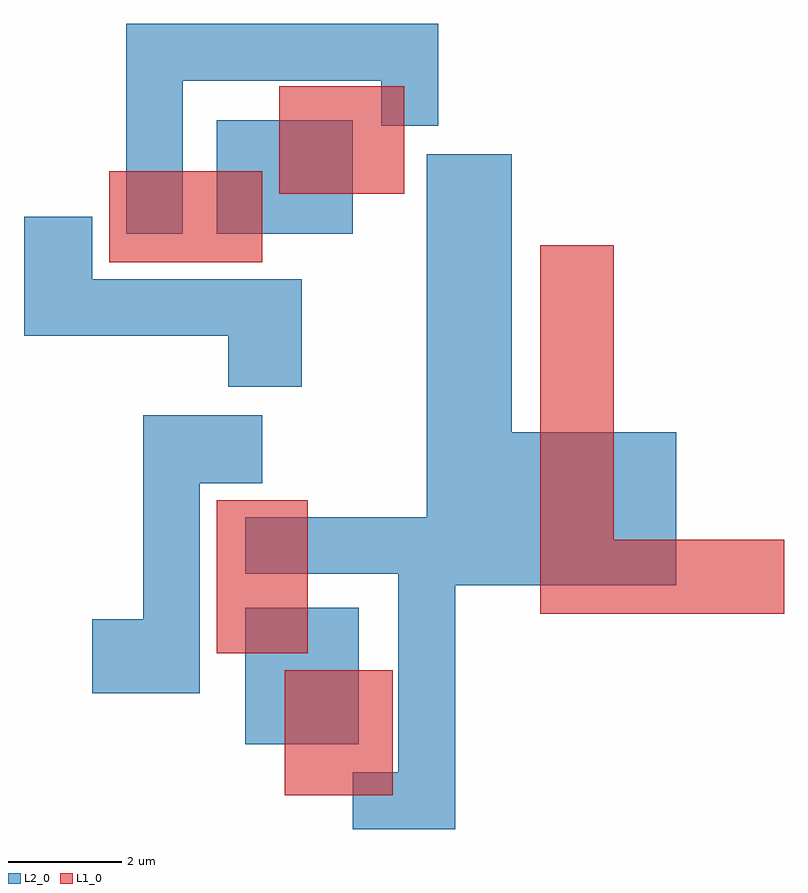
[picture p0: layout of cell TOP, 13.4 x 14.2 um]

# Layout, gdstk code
from math import pi, radians
import gdstk
lib = gdstk.Library(unit=1e-6, precision=1e-09)
def R(c, l, rs):  # rectangles x0, y0, x1, y1
    for r in rs: c.add(gdstk.rectangle(r[:2], r[2:], *l))
def P(c, l, *ps):  # polygons
    for p in ps: c.add(gdstk.Polygon(p, *l))
L1_0 = (1, 0)
L2_0 = (2, 0)
L10_0 = (10, 0)
L11_0 = (11, 0)
L12_0 = (12, 0)
L13_0 = (13, 0)
L14_0 = (14, 0)
L15_0 = (15, 0)
L16_0 = (16, 0)
L17_0 = (17, 0)
L20_0 = (20, 0)
L21_0 = (21, 0)
L22_0 = (22, 0)
L31_0 = (31, 0)
L31_1 = (31, 1)
L32_0 = (32, 0)
L32_1 = (32, 1)
L40_0 = (40, 0)
L40_1 = (40, 1)
L41_0 = (41, 0)
L41_1 = (41, 1)
L42_0 = (42, 0)
L42_1 = (42, 1)

c_a = lib.new_cell('A')
R(c_a, L1_0, [(0.4,0.8,2.6,2.7), (2.9,2.3,5.6,3.9)])
R(c_a, L2_0, [(1.3,1.4,3.7,3.4), (5.9,3.1,7.1,5.2)])
P(c_a, L2_0, [(2.2,4.2),(2.2,6.1),(3.5,6.1),(3.5,5.2),(5.9,5.2),(5.9,4.2)],
  [(-0.2,-0.3),(-0.2,1.5),(0.8,1.5),(0.8,0.7),(4.3,0.7),(4.3,3.4),(5.3,3.4),(5.3,-0.3)])
c_a.add(gdstk.FlexPath([(2.6,2.7),(2.6,2.3)], 0, ends="flush", simple_path=True, layer=10, datatype=0))  # L10_0
c_a.add(gdstk.FlexPath([(2.9,2.3),(2.9,2.7)], 0, ends="flush", simple_path=True, layer=10, datatype=0))  # L10_0
c_a.add(gdstk.FlexPath([(2.9,3.9),(5.6,3.9)], 0, ends="flush", simple_path=True, layer=11, datatype=0))  # L11_0
c_a.add(gdstk.FlexPath([(5.6,4.2),(2.9,4.2)], 0, ends="flush", simple_path=True, layer=11, datatype=0))  # L11_0
c_a.add(gdstk.FlexPath([(5.6,3.9),(5.6,3.1)], 0, ends="flush", simple_path=True, layer=11, datatype=0))  # L11_0
c_a.add(gdstk.FlexPath([(5.9,3.1),(5.9,3.9)], 0, ends="flush", simple_path=True, layer=11, datatype=0))  # L11_0
c_a.add(gdstk.FlexPath([(2.6,0.8),(0.8,0.8)], 0, ends="flush", simple_path=True, layer=11, datatype=0))  # L11_0
c_a.add(gdstk.FlexPath([(0.8,0.7),(2.6,0.7)], 0, ends="flush", simple_path=True, layer=11, datatype=0))  # L11_0
c_a.add(gdstk.FlexPath([(4.3,3.4),(5.3,3.4)], 0, ends="flush", simple_path=True, layer=12, datatype=0))  # L12_0
c_a.add(gdstk.FlexPath([(5.3,4.2),(4.3,4.2)], 0, ends="flush", simple_path=True, layer=12, datatype=0))  # L12_0
c_a.add(gdstk.FlexPath([(1.3,1.4),(1.3,1.5)], 0, ends="flush", simple_path=True, layer=12, datatype=0))  # L12_0
c_a.add(gdstk.FlexPath([(0.8,1.5),(0.8,1.4)], 0, ends="flush", simple_path=True, layer=12, datatype=0))  # L12_0
c_a.add(gdstk.FlexPath([(3.7,1.4),(1.3,1.4)], 0, ends="flush", simple_path=True, layer=12, datatype=0))  # L12_0
c_a.add(gdstk.FlexPath([(1.3,0.7),(3.7,0.7)], 0, ends="flush", simple_path=True, layer=12, datatype=0))  # L12_0
c_a.add(gdstk.FlexPath([(5.3,3.4),(5.3,3.1)], 0, ends="flush", simple_path=True, layer=12, datatype=0))  # L12_0
c_a.add(gdstk.FlexPath([(5.9,3.1),(5.9,3.4)], 0, ends="flush", simple_path=True, layer=12, datatype=0))  # L12_0
c_a.add(gdstk.FlexPath([(2.2,3.4),(3.7,3.4)], 0, ends="flush", simple_path=True, layer=12, datatype=0))  # L12_0
c_a.add(gdstk.FlexPath([(3.7,4.2),(2.2,4.2)], 0, ends="flush", simple_path=True, layer=12, datatype=0))  # L12_0
c_a.add(gdstk.FlexPath([(3.7,3.4),(3.7,1.4)], 0, ends="flush", simple_path=True, layer=12, datatype=0))  # L12_0
c_a.add(gdstk.FlexPath([(4.3,1.4),(4.3,3.4)], 0, ends="flush", simple_path=True, layer=12, datatype=0))  # L12_0
c_a.add(gdstk.FlexPath([(2.6,2.7),(2.6,2.3)], 0, ends="flush", simple_path=True, layer=13, datatype=0))  # L13_0
c_a.add(gdstk.FlexPath([(2.9,2.3),(2.9,2.7)], 0, ends="flush", simple_path=True, layer=13, datatype=0))  # L13_0
c_a.add(gdstk.FlexPath([(2.9,3.9),(5.6,3.9)], 0, ends="flush", simple_path=True, layer=14, datatype=0))  # L14_0
c_a.add(gdstk.FlexPath([(5.6,4.2),(2.9,4.2)], 0, ends="flush", simple_path=True, layer=14, datatype=0))  # L14_0
c_a.add(gdstk.FlexPath([(5.6,3.9),(5.6,3.1)], 0, ends="flush", simple_path=True, layer=14, datatype=0))  # L14_0
c_a.add(gdstk.FlexPath([(5.9,3.1),(5.9,3.9)], 0, ends="flush", simple_path=True, layer=14, datatype=0))  # L14_0
c_a.add(gdstk.FlexPath([(2.6,0.8),(0.8,0.8)], 0, ends="flush", simple_path=True, layer=14, datatype=0))  # L14_0
c_a.add(gdstk.FlexPath([(0.8,0.7),(2.6,0.7)], 0, ends="flush", simple_path=True, layer=14, datatype=0))  # L14_0
c_a.add(gdstk.FlexPath([(2.9,3.9),(5.6,3.9)], 0, ends="flush", simple_path=True, layer=15, datatype=0))  # L15_0
c_a.add(gdstk.FlexPath([(5.6,4.2),(2.9,4.2)], 0, ends="flush", simple_path=True, layer=15, datatype=0))  # L15_0
c_a.add(gdstk.FlexPath([(5.6,3.9),(5.6,3.1)], 0, ends="flush", simple_path=True, layer=15, datatype=0))  # L15_0
c_a.add(gdstk.FlexPath([(5.9,3.1),(5.9,3.9)], 0, ends="flush", simple_path=True, layer=15, datatype=0))  # L15_0
c_a.add(gdstk.FlexPath([(2.6,0.8),(0.8,0.8)], 0, ends="flush", simple_path=True, layer=15, datatype=0))  # L15_0
c_a.add(gdstk.FlexPath([(0.8,0.7),(2.6,0.7)], 0, ends="flush", simple_path=True, layer=15, datatype=0))  # L15_0
c_a.add(gdstk.FlexPath([(2.9,3.9),(5.6,3.9)], 0, ends="flush", simple_path=True, layer=16, datatype=0))  # L16_0
c_a.add(gdstk.FlexPath([(5.6,4.2),(2.9,4.2)], 0, ends="flush", simple_path=True, layer=16, datatype=0))  # L16_0
c_a.add(gdstk.FlexPath([(5.6,3.9),(5.6,3.1)], 0, ends="flush", simple_path=True, layer=16, datatype=0))  # L16_0
c_a.add(gdstk.FlexPath([(5.9,3.1),(5.9,3.9)], 0, ends="flush", simple_path=True, layer=16, datatype=0))  # L16_0
c_a.add(gdstk.FlexPath([(2.6,0.8),(0.8,0.8)], 0, ends="flush", simple_path=True, layer=16, datatype=0))  # L16_0
c_a.add(gdstk.FlexPath([(0.8,0.7),(2.6,0.7)], 0, ends="flush", simple_path=True, layer=16, datatype=0))  # L16_0
c_a.add(gdstk.FlexPath([(5.9,5.2),(5.9,4.2)], 0, ends="flush", simple_path=True, layer=17, datatype=0))  # L17_0
c_a.add(gdstk.FlexPath([(5.9,4.2),(5.9,5.2)], 0, ends="flush", simple_path=True, layer=17, datatype=0))  # L17_0
c_a.add(gdstk.FlexPath([(4.3,3.4),(5.3,3.4)], 0, ends="flush", simple_path=True, layer=17, datatype=0))  # L17_0
c_a.add(gdstk.FlexPath([(5.3,4.2),(4.3,4.2)], 0, ends="flush", simple_path=True, layer=17, datatype=0))  # L17_0
c_a.add(gdstk.FlexPath([(1.3,1.4),(1.3,1.5)], 0, ends="flush", simple_path=True, layer=17, datatype=0))  # L17_0
c_a.add(gdstk.FlexPath([(0.8,1.5),(0.8,1.4)], 0, ends="flush", simple_path=True, layer=17, datatype=0))  # L17_0
c_a.add(gdstk.FlexPath([(5.3,3.4),(5.3,3.1)], 0, ends="flush", simple_path=True, layer=17, datatype=0))  # L17_0
c_a.add(gdstk.FlexPath([(5.9,3.1),(5.9,3.4)], 0, ends="flush", simple_path=True, layer=17, datatype=0))  # L17_0
c_a.add(gdstk.FlexPath([(2.2,3.4),(3.7,3.4)], 0, ends="flush", simple_path=True, layer=17, datatype=0))  # L17_0
c_a.add(gdstk.FlexPath([(3.7,4.2),(2.2,4.2)], 0, ends="flush", simple_path=True, layer=17, datatype=0))  # L17_0
c_a.add(gdstk.FlexPath([(3.7,3.4),(3.7,1.4)], 0, ends="flush", simple_path=True, layer=17, datatype=0))  # L17_0
c_a.add(gdstk.FlexPath([(4.3,1.4),(4.3,3.4)], 0, ends="flush", simple_path=True, layer=17, datatype=0))  # L17_0
c_a.add(gdstk.FlexPath([(3.7,1.4),(1.3,1.4)], 0, ends="flush", simple_path=True, layer=17, datatype=0))  # L17_0
c_a.add(gdstk.FlexPath([(1.3,0.7),(3.7,0.7)], 0, ends="flush", simple_path=True, layer=17, datatype=0))  # L17_0
c_a.add(gdstk.FlexPath([(2.9,2.3),(2.9,2.7)], 0, ends="flush", simple_path=True, layer=20, datatype=0))  # L20_0
c_a.add(gdstk.FlexPath([(2.6,2.7),(2.6,2.3)], 0, ends="flush", simple_path=True, layer=20, datatype=0))  # L20_0
c_a.add(gdstk.FlexPath([(2.6,2.7),(2.6,2.3)], 0, ends="flush", simple_path=True, layer=20, datatype=0))  # L20_0
c_a.add(gdstk.FlexPath([(2.9,2.3),(2.9,2.7)], 0, ends="flush", simple_path=True, layer=20, datatype=0))  # L20_0
c_a.add(gdstk.FlexPath([(5.6,3.9),(5.6,3.1)], 0, ends="flush", simple_path=True, layer=21, datatype=0))  # L21_0
c_a.add(gdstk.FlexPath([(5.9,3.1),(5.9,3.9)], 0, ends="flush", simple_path=True, layer=21, datatype=0))  # L21_0
c_a.add(gdstk.FlexPath([(2.9,3.9),(5.6,3.9)], 0, ends="flush", simple_path=True, layer=21, datatype=0))  # L21_0
c_a.add(gdstk.FlexPath([(5.6,4.2),(2.9,4.2)], 0, ends="flush", simple_path=True, layer=21, datatype=0))  # L21_0
c_a.add(gdstk.FlexPath([(2.6,0.8),(0.8,0.8)], 0, ends="flush", simple_path=True, layer=21, datatype=0))  # L21_0
c_a.add(gdstk.FlexPath([(0.8,0.7),(2.6,0.7)], 0, ends="flush", simple_path=True, layer=21, datatype=0))  # L21_0
c_a.add(gdstk.FlexPath([(5.9,3.1),(5.9,3.4)], 0, ends="flush", simple_path=True, layer=22, datatype=0))  # L22_0
c_a.add(gdstk.FlexPath([(5.3,3.4),(5.3,3.1)], 0, ends="flush", simple_path=True, layer=22, datatype=0))  # L22_0
c_a.add(gdstk.FlexPath([(4.3,1.4),(4.3,3.4)], 0, ends="flush", simple_path=True, layer=22, datatype=0))  # L22_0
c_a.add(gdstk.FlexPath([(3.7,3.4),(3.7,1.4)], 0, ends="flush", simple_path=True, layer=22, datatype=0))  # L22_0
c_a.add(gdstk.FlexPath([(0.8,1.5),(0.8,1.4)], 0, ends="flush", simple_path=True, layer=22, datatype=0))  # L22_0
c_a.add(gdstk.FlexPath([(1.3,1.4),(1.3,1.5)], 0, ends="flush", simple_path=True, layer=22, datatype=0))  # L22_0
c_a.add(gdstk.FlexPath([(4.3,3.4),(5.3,3.4)], 0, ends="flush", simple_path=True, layer=22, datatype=0))  # L22_0
c_a.add(gdstk.FlexPath([(5.3,4.2),(4.3,4.2)], 0, ends="flush", simple_path=True, layer=22, datatype=0))  # L22_0
c_a.add(gdstk.FlexPath([(1.3,0.7),(3.7,0.7)], 0, ends="flush", simple_path=True, layer=22, datatype=0))  # L22_0
c_a.add(gdstk.FlexPath([(3.7,1.4),(1.3,1.4)], 0, ends="flush", simple_path=True, layer=22, datatype=0))  # L22_0
c_a.add(gdstk.FlexPath([(1.3,1.4),(1.3,1.5)], 0, ends="flush", simple_path=True, layer=22, datatype=0))  # L22_0
c_a.add(gdstk.FlexPath([(0.8,1.5),(0.8,1.4)], 0, ends="flush", simple_path=True, layer=22, datatype=0))  # L22_0
c_a.add(gdstk.FlexPath([(3.7,4.2),(2.2,4.2)], 0, ends="flush", simple_path=True, layer=22, datatype=0))  # L22_0
c_a.add(gdstk.FlexPath([(2.2,3.4),(3.7,3.4)], 0, ends="flush", simple_path=True, layer=22, datatype=0))  # L22_0
c_a.add(gdstk.FlexPath([(5.3,3.4),(5.3,3.1)], 0, ends="flush", simple_path=True, layer=22, datatype=0))  # L22_0
c_a.add(gdstk.FlexPath([(5.9,3.1),(5.9,3.4)], 0, ends="flush", simple_path=True, layer=22, datatype=0))  # L22_0
c_a.add(gdstk.FlexPath([(3.7,1.4),(1.3,1.4)], 0, ends="flush", simple_path=True, layer=22, datatype=0))  # L22_0
c_a.add(gdstk.FlexPath([(1.3,0.7),(3.7,0.7)], 0, ends="flush", simple_path=True, layer=22, datatype=0))  # L22_0
c_a.add(gdstk.FlexPath([(2.2,3.4),(3.7,3.4)], 0, ends="flush", simple_path=True, layer=22, datatype=0))  # L22_0
c_a.add(gdstk.FlexPath([(3.7,4.2),(2.2,4.2)], 0, ends="flush", simple_path=True, layer=22, datatype=0))  # L22_0
c_a.add(gdstk.FlexPath([(3.7,3.4),(3.7,1.4)], 0, ends="flush", simple_path=True, layer=22, datatype=0))  # L22_0
c_a.add(gdstk.FlexPath([(4.3,1.4),(4.3,3.4)], 0, ends="flush", simple_path=True, layer=22, datatype=0))  # L22_0
c_a.add(gdstk.FlexPath([(5.6,3.9),(5.6,3.1)], 0, ends="flush", simple_path=True, layer=31, datatype=0))  # L31_0
c_a.add(gdstk.FlexPath([(5.9,3.1),(5.9,3.9)], 0, ends="flush", simple_path=True, layer=31, datatype=0))  # L31_0
c_a.add(gdstk.FlexPath([(2.6,0.8),(0.8,0.8)], 0, ends="flush", simple_path=True, layer=31, datatype=0))  # L31_0
c_a.add(gdstk.FlexPath([(0.8,0.7),(2.6,0.7)], 0, ends="flush", simple_path=True, layer=31, datatype=0))  # L31_0
c_a.add(gdstk.FlexPath([(4.3,3.4),(5.3,3.4)], 0, ends="flush", simple_path=True, layer=32, datatype=0))  # L32_0
c_a.add(gdstk.FlexPath([(5.3,4.2),(4.3,4.2)], 0, ends="flush", simple_path=True, layer=32, datatype=0))  # L32_0
c_a.add(gdstk.FlexPath([(5.6,3.9),(5.6,3.1)], 0, ends="flush", simple_path=True, layer=31, datatype=1))  # L31_1
c_a.add(gdstk.FlexPath([(5.9,3.1),(5.9,3.9)], 0, ends="flush", simple_path=True, layer=31, datatype=1))  # L31_1
c_a.add(gdstk.FlexPath([(2.6,0.8),(0.8,0.8)], 0, ends="flush", simple_path=True, layer=31, datatype=1))  # L31_1
c_a.add(gdstk.FlexPath([(0.8,0.7),(2.6,0.7)], 0, ends="flush", simple_path=True, layer=31, datatype=1))  # L31_1
c_a.add(gdstk.FlexPath([(4.3,3.4),(5.3,3.4)], 0, ends="flush", simple_path=True, layer=32, datatype=1))  # L32_1
c_a.add(gdstk.FlexPath([(5.3,4.2),(4.3,4.2)], 0, ends="flush", simple_path=True, layer=32, datatype=1))  # L32_1
c_a.add(gdstk.FlexPath([(2.9,2.3),(2.9,2.7)], 0, ends="flush", simple_path=True, layer=40, datatype=0))  # L40_0
c_a.add(gdstk.FlexPath([(2.6,2.7),(2.6,2.3)], 0, ends="flush", simple_path=True, layer=40, datatype=0))  # L40_0
c_a.add(gdstk.FlexPath([(2.6,2.7),(2.6,2.3)], 0, ends="flush", simple_path=True, layer=40, datatype=0))  # L40_0
c_a.add(gdstk.FlexPath([(2.9,2.3),(2.9,2.7)], 0, ends="flush", simple_path=True, layer=40, datatype=0))  # L40_0
c_a.add(gdstk.FlexPath([(2.9,3.9),(5.6,3.9)], 0, ends="flush", simple_path=True, layer=41, datatype=0))  # L41_0
c_a.add(gdstk.FlexPath([(5.6,4.2),(2.9,4.2)], 0, ends="flush", simple_path=True, layer=41, datatype=0))  # L41_0
c_a.add(gdstk.FlexPath([(5.9,4.2),(5.9,5.2)], 0, ends="flush", simple_path=True, layer=42, datatype=0))  # L42_0
c_a.add(gdstk.FlexPath([(5.9,5.2),(5.9,4.2)], 0, ends="flush", simple_path=True, layer=42, datatype=0))  # L42_0
c_a.add(gdstk.FlexPath([(5.9,3.1),(5.9,3.4)], 0, ends="flush", simple_path=True, layer=42, datatype=0))  # L42_0
c_a.add(gdstk.FlexPath([(5.3,3.4),(5.3,3.1)], 0, ends="flush", simple_path=True, layer=42, datatype=0))  # L42_0
c_a.add(gdstk.FlexPath([(1.3,1.4),(1.3,1.5)], 0, ends="flush", simple_path=True, layer=42, datatype=0))  # L42_0
c_a.add(gdstk.FlexPath([(0.8,1.5),(0.8,1.4)], 0, ends="flush", simple_path=True, layer=42, datatype=0))  # L42_0
c_a.add(gdstk.FlexPath([(3.7,3.4),(3.7,1.4)], 0, ends="flush", simple_path=True, layer=42, datatype=0))  # L42_0
c_a.add(gdstk.FlexPath([(4.3,1.4),(4.3,3.4)], 0, ends="flush", simple_path=True, layer=42, datatype=0))  # L42_0
c_a.add(gdstk.FlexPath([(5.9,5.2),(5.9,4.2)], 0, ends="flush", simple_path=True, layer=42, datatype=0))  # L42_0
c_a.add(gdstk.FlexPath([(5.9,4.2),(5.9,5.2)], 0, ends="flush", simple_path=True, layer=42, datatype=0))  # L42_0
c_a.add(gdstk.FlexPath([(3.7,4.2),(2.2,4.2)], 0, ends="flush", simple_path=True, layer=42, datatype=0))  # L42_0
c_a.add(gdstk.FlexPath([(2.2,3.4),(3.7,3.4)], 0, ends="flush", simple_path=True, layer=42, datatype=0))  # L42_0
c_a.add(gdstk.FlexPath([(2.2,3.4),(3.7,3.4)], 0, ends="flush", simple_path=True, layer=42, datatype=0))  # L42_0
c_a.add(gdstk.FlexPath([(3.7,4.2),(2.2,4.2)], 0, ends="flush", simple_path=True, layer=42, datatype=0))  # L42_0
c_a.add(gdstk.FlexPath([(3.7,1.4),(1.3,1.4)], 0, ends="flush", simple_path=True, layer=42, datatype=0))  # L42_0
c_a.add(gdstk.FlexPath([(1.3,0.7),(3.7,0.7)], 0, ends="flush", simple_path=True, layer=42, datatype=0))  # L42_0
c_a.add(gdstk.FlexPath([(2.6,2.7),(2.6,2.3)], 0, ends="flush", simple_path=True, layer=40, datatype=1))  # L40_1
c_a.add(gdstk.FlexPath([(2.9,2.3),(2.9,2.7)], 0, ends="flush", simple_path=True, layer=40, datatype=1))  # L40_1
c_a.add(gdstk.FlexPath([(2.9,3.9),(5.6,3.9)], 0, ends="flush", simple_path=True, layer=41, datatype=1))  # L41_1
c_a.add(gdstk.FlexPath([(5.6,4.2),(2.9,4.2)], 0, ends="flush", simple_path=True, layer=41, datatype=1))  # L41_1
c_a.add(gdstk.FlexPath([(5.9,5.2),(5.9,4.2)], 0, ends="flush", simple_path=True, layer=42, datatype=1))  # L42_1
c_a.add(gdstk.FlexPath([(5.9,4.2),(5.9,5.2)], 0, ends="flush", simple_path=True, layer=42, datatype=1))  # L42_1
c_a.add(gdstk.FlexPath([(1.3,1.4),(1.3,1.5)], 0, ends="flush", simple_path=True, layer=42, datatype=1))  # L42_1
c_a.add(gdstk.FlexPath([(0.8,1.5),(0.8,1.4)], 0, ends="flush", simple_path=True, layer=42, datatype=1))  # L42_1
c_a.add(gdstk.FlexPath([(5.9,3.1),(5.9,3.4)], 0, ends="flush", simple_path=True, layer=42, datatype=1))  # L42_1
c_a.add(gdstk.FlexPath([(5.3,3.4),(5.3,3.1)], 0, ends="flush", simple_path=True, layer=42, datatype=1))  # L42_1
c_a.add(gdstk.FlexPath([(2.2,3.4),(3.7,3.4)], 0, ends="flush", simple_path=True, layer=42, datatype=1))  # L42_1
c_a.add(gdstk.FlexPath([(3.7,4.2),(2.2,4.2)], 0, ends="flush", simple_path=True, layer=42, datatype=1))  # L42_1
c_a.add(gdstk.FlexPath([(3.7,3.4),(3.7,1.4)], 0, ends="flush", simple_path=True, layer=42, datatype=1))  # L42_1
c_a.add(gdstk.FlexPath([(4.3,1.4),(4.3,3.4)], 0, ends="flush", simple_path=True, layer=42, datatype=1))  # L42_1
c_a.add(gdstk.FlexPath([(3.7,1.4),(1.3,1.4)], 0, ends="flush", simple_path=True, layer=42, datatype=1))  # L42_1
c_a.add(gdstk.FlexPath([(1.3,0.7),(3.7,0.7)], 0, ends="flush", simple_path=True, layer=42, datatype=1))  # L42_1

top = lib.new_cell('TOP')
P(top, L1_0, [(8.4,4.1),(8.4,10.6),(9.7,10.6),(9.7,5.4),(12.7,5.4),(12.7,4.1)])
R(top, L2_0, [(6.6,4.6,10.8,5.8)])
P(top, L2_0, [(6.4,5.8),(6.4,12.2),(7.9,12.2),(7.9,7.3),(10.8,7.3),(10.8,5.8)])
top.add(gdstk.FlexPath([(8.4,7.3),(8.4,10.6)], 0, ends="flush", simple_path=True, layer=11, datatype=0))  # L11_0
top.add(gdstk.FlexPath([(7.9,10.6),(7.9,7.3)], 0, ends="flush", simple_path=True, layer=11, datatype=0))  # L11_0
top.add(gdstk.FlexPath([(6,12.2),(6,11.5)], 0, ends="flush", simple_path=True, layer=11, datatype=0))  # L11_0
top.add(gdstk.FlexPath([(6.4,11.5),(6.4,12.2)], 0, ends="flush", simple_path=True, layer=11, datatype=0))  # L11_0
top.add(gdstk.FlexPath([(6.6,12.7),(6.4,12.7)], 0, ends="flush", simple_path=True, layer=12, datatype=0))  # L12_0
top.add(gdstk.FlexPath([(6.4,12.2),(6.6,12.2)], 0, ends="flush", simple_path=True, layer=12, datatype=0))  # L12_0
top.add(gdstk.FlexPath([(2.9,7.6),(3.5,7.6)], 0, ends="flush", simple_path=True, layer=12, datatype=0))  # L12_0
top.add(gdstk.FlexPath([(3.5,8.1),(2.9,8.1)], 0, ends="flush", simple_path=True, layer=12, datatype=0))  # L12_0
top.add(gdstk.FlexPath([(8.4,7.3),(8.4,10.6)], 0, ends="flush", simple_path=True, layer=14, datatype=0))  # L14_0
top.add(gdstk.FlexPath([(7.9,10.6),(7.9,7.3)], 0, ends="flush", simple_path=True, layer=14, datatype=0))  # L14_0
top.add(gdstk.FlexPath([(6,12.2),(6,11.5)], 0, ends="flush", simple_path=True, layer=14, datatype=0))  # L14_0
top.add(gdstk.FlexPath([(6.4,11.5),(6.4,12.2)], 0, ends="flush", simple_path=True, layer=14, datatype=0))  # L14_0
top.add(gdstk.FlexPath([(8.4,7.3),(8.4,10.6)], 0, ends="flush", simple_path=True, layer=15, datatype=0))  # L15_0
top.add(gdstk.FlexPath([(7.9,10.6),(7.9,7.3)], 0, ends="flush", simple_path=True, layer=15, datatype=0))  # L15_0
top.add(gdstk.FlexPath([(6,12.2),(6,11.5)], 0, ends="flush", simple_path=True, layer=15, datatype=0))  # L15_0
top.add(gdstk.FlexPath([(6.4,11.5),(6.4,12.2)], 0, ends="flush", simple_path=True, layer=15, datatype=0))  # L15_0
top.add(gdstk.FlexPath([(8.4,7.3),(8.4,10.6)], 0, ends="flush", simple_path=True, layer=16, datatype=0))  # L16_0
top.add(gdstk.FlexPath([(7.9,10.6),(7.9,7.3)], 0, ends="flush", simple_path=True, layer=16, datatype=0))  # L16_0
top.add(gdstk.FlexPath([(6,12.2),(6,11.5)], 0, ends="flush", simple_path=True, layer=16, datatype=0))  # L16_0
top.add(gdstk.FlexPath([(6.4,11.5),(6.4,12.2)], 0, ends="flush", simple_path=True, layer=16, datatype=0))  # L16_0
top.add(gdstk.FlexPath([(6.6,5.8),(10.8,5.8)], 0, ends="flush", simple_path=True, layer=17, datatype=0))  # L17_0
top.add(gdstk.FlexPath([(10.8,5.8),(6.6,5.8)], 0, ends="flush", simple_path=True, layer=17, datatype=0))  # L17_0
top.add(gdstk.FlexPath([(6.6,12.7),(6.4,12.7)], 0, ends="flush", simple_path=True, layer=17, datatype=0))  # L17_0
top.add(gdstk.FlexPath([(6.4,12.2),(6.6,12.2)], 0, ends="flush", simple_path=True, layer=17, datatype=0))  # L17_0
top.add(gdstk.FlexPath([(6.4,5.8),(6.9,5.8)], 0, ends="flush", simple_path=True, layer=17, datatype=0))  # L17_0
top.add(gdstk.FlexPath([(6.9,5.8),(6.4,5.8)], 0, ends="flush", simple_path=True, layer=17, datatype=0))  # L17_0
top.add(gdstk.FlexPath([(2.9,7.6),(3.5,7.6)], 0, ends="flush", simple_path=True, layer=17, datatype=0))  # L17_0
top.add(gdstk.FlexPath([(3.5,8.1),(2.9,8.1)], 0, ends="flush", simple_path=True, layer=17, datatype=0))  # L17_0
top.add(gdstk.FlexPath([(8.4,7.3),(8.4,10.6)], 0, ends="flush", simple_path=True, layer=21, datatype=0))  # L21_0
top.add(gdstk.FlexPath([(7.9,10.6),(7.9,7.3)], 0, ends="flush", simple_path=True, layer=21, datatype=0))  # L21_0
top.add(gdstk.FlexPath([(6,12.2),(6,11.5)], 0, ends="flush", simple_path=True, layer=21, datatype=0))  # L21_0
top.add(gdstk.FlexPath([(6.4,11.5),(6.4,12.2)], 0, ends="flush", simple_path=True, layer=21, datatype=0))  # L21_0
top.add(gdstk.FlexPath([(6.4,12.2),(6.6,12.2)], 0, ends="flush", simple_path=True, layer=22, datatype=0))  # L22_0
top.add(gdstk.FlexPath([(6.6,12.7),(6.4,12.7)], 0, ends="flush", simple_path=True, layer=22, datatype=0))  # L22_0
top.add(gdstk.FlexPath([(3.5,8.1),(2.9,8.1)], 0, ends="flush", simple_path=True, layer=22, datatype=0))  # L22_0
top.add(gdstk.FlexPath([(2.9,7.6),(3.5,7.6)], 0, ends="flush", simple_path=True, layer=22, datatype=0))  # L22_0
top.add(gdstk.FlexPath([(6.6,12.7),(6.4,12.7)], 0, ends="flush", simple_path=True, layer=22, datatype=0))  # L22_0
top.add(gdstk.FlexPath([(6.4,12.2),(6.6,12.2)], 0, ends="flush", simple_path=True, layer=22, datatype=0))  # L22_0
top.add(gdstk.FlexPath([(2.9,7.6),(3.5,7.6)], 0, ends="flush", simple_path=True, layer=22, datatype=0))  # L22_0
top.add(gdstk.FlexPath([(3.5,8.1),(2.9,8.1)], 0, ends="flush", simple_path=True, layer=22, datatype=0))  # L22_0
top.add(gdstk.FlexPath([(8.4,7.3),(8.4,10.6)], 0, ends="flush", simple_path=True, layer=31, datatype=0))  # L31_0
top.add(gdstk.FlexPath([(7.9,10.6),(7.9,7.3)], 0, ends="flush", simple_path=True, layer=31, datatype=0))  # L31_0
top.add(gdstk.FlexPath([(9.7,5.4),(10.8,5.4)], 0, ends="flush", simple_path=True, layer=31, datatype=0))  # L31_0
top.add(gdstk.FlexPath([(10.8,5.8),(9.7,5.8)], 0, ends="flush", simple_path=True, layer=31, datatype=0))  # L31_0
top.add(gdstk.FlexPath([(8.4,7.3),(8.4,10.6)], 0, ends="flush", simple_path=True, layer=31, datatype=1))  # L31_1
top.add(gdstk.FlexPath([(7.9,10.6),(7.9,7.3)], 0, ends="flush", simple_path=True, layer=31, datatype=1))  # L31_1
top.add(gdstk.FlexPath([(9.7,5.4),(10.8,5.4)], 0, ends="flush", simple_path=True, layer=31, datatype=1))  # L31_1
top.add(gdstk.FlexPath([(10.8,5.8),(9.7,5.8)], 0, ends="flush", simple_path=True, layer=31, datatype=1))  # L31_1
top.add(gdstk.FlexPath([(6,12.2),(6,11.5)], 0, ends="flush", simple_path=True, layer=41, datatype=0))  # L41_0
top.add(gdstk.FlexPath([(6.4,11.5),(6.4,12.2)], 0, ends="flush", simple_path=True, layer=41, datatype=0))  # L41_0
top.add(gdstk.FlexPath([(6.4,12.2),(6.6,12.2)], 0, ends="flush", simple_path=True, layer=42, datatype=0))  # L42_0
top.add(gdstk.FlexPath([(6.6,12.7),(6.4,12.7)], 0, ends="flush", simple_path=True, layer=42, datatype=0))  # L42_0
top.add(gdstk.FlexPath([(1.1,10.8),(1.1,11.1)], 0, ends="flush", simple_path=True, layer=42, datatype=0))  # L42_0
top.add(gdstk.FlexPath([(0.5,11.1),(0.5,10.8)], 0, ends="flush", simple_path=True, layer=42, datatype=0))  # L42_0
top.add(gdstk.FlexPath([(2.1,12.8),(2.1,10.8)], 0, ends="flush", simple_path=True, layer=42, datatype=0))  # L42_0
top.add(gdstk.FlexPath([(2.7,10.8),(2.7,12.8)], 0, ends="flush", simple_path=True, layer=42, datatype=0))  # L42_0
top.add(gdstk.FlexPath([(5.6,12.7),(5.6,12.8)], 0, ends="flush", simple_path=True, layer=42, datatype=0))  # L42_0
top.add(gdstk.FlexPath([(5.1,12.8),(5.1,12.7)], 0, ends="flush", simple_path=True, layer=42, datatype=0))  # L42_0
top.add(gdstk.FlexPath([(2.9,7.6),(3.5,7.6)], 0, ends="flush", simple_path=True, layer=42, datatype=0))  # L42_0
top.add(gdstk.FlexPath([(3.5,8.1),(2.9,8.1)], 0, ends="flush", simple_path=True, layer=42, datatype=0))  # L42_0
top.add(gdstk.FlexPath([(6.4,5.8),(10.8,5.8)], 0, ends="flush", simple_path=True, layer=42, datatype=0))  # L42_0
top.add(gdstk.FlexPath([(10.8,5.8),(6.4,5.8)], 0, ends="flush", simple_path=True, layer=42, datatype=0))  # L42_0
top.add(gdstk.FlexPath([(3.5,8.1),(2.9,8.1)], 0, ends="flush", simple_path=True, layer=42, datatype=0))  # L42_0
top.add(gdstk.FlexPath([(2.9,7.6),(3.5,7.6)], 0, ends="flush", simple_path=True, layer=42, datatype=0))  # L42_0
top.add(gdstk.FlexPath([(6.6,12.7),(6.4,12.7)], 0, ends="flush", simple_path=True, layer=42, datatype=0))  # L42_0
top.add(gdstk.FlexPath([(6.4,12.2),(6.6,12.2)], 0, ends="flush", simple_path=True, layer=42, datatype=0))  # L42_0
top.add(gdstk.FlexPath([(3.2,5.8),(3.5,5.8)], 0, ends="flush", simple_path=True, layer=42, datatype=0))  # L42_0
top.add(gdstk.FlexPath([(3.5,6.4),(3.2,6.4)], 0, ends="flush", simple_path=True, layer=42, datatype=0))  # L42_0
top.add(gdstk.FlexPath([(5.2,4.8),(3.2,4.8)], 0, ends="flush", simple_path=True, layer=42, datatype=0))  # L42_0
top.add(gdstk.FlexPath([(3.2,4.2),(5.2,4.2)], 0, ends="flush", simple_path=True, layer=42, datatype=0))  # L42_0
top.add(gdstk.FlexPath([(5.9,1.8),(5.9,4.2)], 0, ends="flush", simple_path=True, layer=42, datatype=0))  # L42_0
top.add(gdstk.FlexPath([(5.2,4.2),(5.2,1.8)], 0, ends="flush", simple_path=True, layer=42, datatype=0))  # L42_0
top.add(gdstk.FlexPath([(5.1,1.3),(5.2,1.3)], 0, ends="flush", simple_path=True, layer=42, datatype=0))  # L42_0
top.add(gdstk.FlexPath([(5.2,1.8),(5.1,1.8)], 0, ends="flush", simple_path=True, layer=42, datatype=0))  # L42_0
top.add(gdstk.FlexPath([(5.1,13.5),(2.7,13.5)], 0, ends="flush", simple_path=True, layer=42, datatype=0))  # L42_0
top.add(gdstk.FlexPath([(2.7,12.8),(5.1,12.8)], 0, ends="flush", simple_path=True, layer=42, datatype=0))  # L42_0
top.add(gdstk.FlexPath([(10.8,5.8),(6.4,5.8)], 0, ends="flush", simple_path=True, layer=42, datatype=0))  # L42_0
top.add(gdstk.FlexPath([(6.4,5.8),(10.8,5.8)], 0, ends="flush", simple_path=True, layer=42, datatype=0))  # L42_0
top.add(gdstk.FlexPath([(6,12.2),(6,11.5)], 0, ends="flush", simple_path=True, layer=41, datatype=1))  # L41_1
top.add(gdstk.FlexPath([(6.4,11.5),(6.4,12.2)], 0, ends="flush", simple_path=True, layer=41, datatype=1))  # L41_1
top.add(gdstk.FlexPath([(5.1,1.3),(5.2,1.3)], 0, ends="flush", simple_path=True, layer=42, datatype=1))  # L42_1
top.add(gdstk.FlexPath([(5.2,1.8),(5.1,1.8)], 0, ends="flush", simple_path=True, layer=42, datatype=1))  # L42_1
top.add(gdstk.FlexPath([(5.2,4.8),(3.2,4.8)], 0, ends="flush", simple_path=True, layer=42, datatype=1))  # L42_1
top.add(gdstk.FlexPath([(3.2,4.2),(5.2,4.2)], 0, ends="flush", simple_path=True, layer=42, datatype=1))  # L42_1
top.add(gdstk.FlexPath([(3.2,5.8),(3.5,5.8)], 0, ends="flush", simple_path=True, layer=42, datatype=1))  # L42_1
top.add(gdstk.FlexPath([(3.5,6.4),(3.2,6.4)], 0, ends="flush", simple_path=True, layer=42, datatype=1))  # L42_1
top.add(gdstk.FlexPath([(6.4,5.8),(10.8,5.8)], 0, ends="flush", simple_path=True, layer=42, datatype=1))  # L42_1
top.add(gdstk.FlexPath([(10.8,5.8),(6.4,5.8)], 0, ends="flush", simple_path=True, layer=42, datatype=1))  # L42_1
top.add(gdstk.FlexPath([(1.1,10.8),(1.1,11.1)], 0, ends="flush", simple_path=True, layer=42, datatype=1))  # L42_1
top.add(gdstk.FlexPath([(0.5,11.1),(0.5,10.8)], 0, ends="flush", simple_path=True, layer=42, datatype=1))  # L42_1
top.add(gdstk.FlexPath([(5.9,1.8),(5.9,4.2)], 0, ends="flush", simple_path=True, layer=42, datatype=1))  # L42_1
top.add(gdstk.FlexPath([(5.2,4.2),(5.2,1.8)], 0, ends="flush", simple_path=True, layer=42, datatype=1))  # L42_1
top.add(gdstk.FlexPath([(6.6,12.7),(6.4,12.7)], 0, ends="flush", simple_path=True, layer=42, datatype=1))  # L42_1
top.add(gdstk.FlexPath([(6.4,12.2),(6.6,12.2)], 0, ends="flush", simple_path=True, layer=42, datatype=1))  # L42_1
top.add(gdstk.FlexPath([(5.6,12.7),(5.6,12.8)], 0, ends="flush", simple_path=True, layer=42, datatype=1))  # L42_1
top.add(gdstk.FlexPath([(5.1,12.8),(5.1,12.7)], 0, ends="flush", simple_path=True, layer=42, datatype=1))  # L42_1
top.add(gdstk.FlexPath([(2.1,12.8),(2.1,10.8)], 0, ends="flush", simple_path=True, layer=42, datatype=1))  # L42_1
top.add(gdstk.FlexPath([(2.7,10.8),(2.7,12.8)], 0, ends="flush", simple_path=True, layer=42, datatype=1))  # L42_1
top.add(gdstk.FlexPath([(5.1,13.5),(2.7,13.5)], 0, ends="flush", simple_path=True, layer=42, datatype=1))  # L42_1
top.add(gdstk.FlexPath([(2.7,12.8),(5.1,12.8)], 0, ends="flush", simple_path=True, layer=42, datatype=1))  # L42_1
top.add(gdstk.FlexPath([(2.9,7.6),(3.5,7.6)], 0, ends="flush", simple_path=True, layer=42, datatype=1))  # L42_1
top.add(gdstk.FlexPath([(3.5,8.1),(2.9,8.1)], 0, ends="flush", simple_path=True, layer=42, datatype=1))  # L42_1
top.add(gdstk.Reference(c_a, (6.6,0.5), rotation=pi/2))
top.add(gdstk.Reference(c_a, (6.4,14.2), rotation=pi))

lib.write_gds('TOP.gds')
